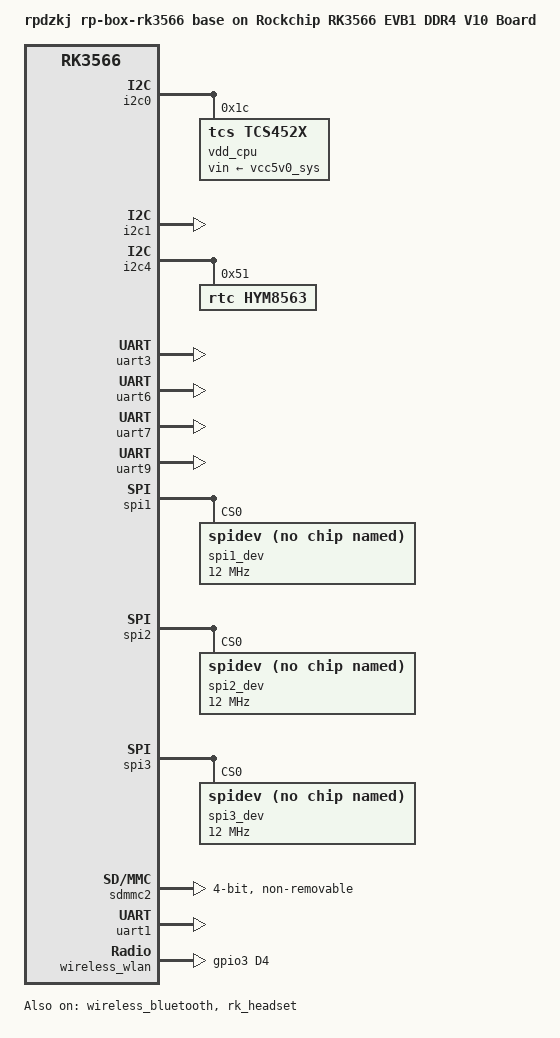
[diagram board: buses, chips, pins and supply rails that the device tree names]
// SPDX-License-Identifier: (GPL-2.0+ OR MIT)
/*
 * Copyright (c) 2020 Rockchip Electronics Co., Ltd.
 *
 */

/dts-v1/;

//rk3566-evb1-ddr4-v10
//#include "rk3566-evb1-ddr4-v10.dtsi"

#include "rk3566-evb-rpdzkj-rk809.dtsi"


#include "rk3568-linux.dtsi"
/*************************camera***********************/
//#include "rp-mipi-camera-gc2093-rk3566.dtsi"
#include "rp-mipi-camera-gc2093-imx334-imx415-rk3566.dtsi"
/***************************************************/


/*************************adc key***********************/
#include "rp-adc-key.dtsi"
/***************************************************/

/*************************gmac***********************/
#include "rp-gmac1-m0-pro-rk3566.dtsi"
/***************************************************/

/***************** SINGLE LCD (LCD + HDMI) ****************/
#include "rp-box-rk3566-lcd-gpio.dtsi"
/* HDMI only */
//#include "rp-lcd-hdmi.dtsi"

/* MIPI DSI0 */
//#include "rp-lcd-mipi0-5-720-1280-v2-boxTP.dtsi"
#include "rp-lcd-mipi0-7-720-1280.dtsi"
//#include "rp-lcd-mipi0-8-800-1280-v3.dtsi"
//#include "rp-lcd-mipi0-8-1200-1920.dtsi"
//#include "rp-lcd-mipi0-10-800-1280-v3.dtsi"
//#include "rp-lcd-mipi0-10-1200-1920.dtsi"

/** LVDS */
//#include "rp-lcd-lvds-7-1024-600-v2.dtsi"
//#include "rp-lcd-lvds-10-1280-800.dtsi"

/* EDP */
//#include "rp-lcd-edp-13-1920-1080.dtsi"
//#include "rp-lcd-edp-13.3-15.6-1920-1080.dtsi"










/ {
	model = "rpdzkj rp-box-rk3566 base on Rockchip RK3566 EVB1 DDR4 V10 Board";
	compatible = "rpdzkj,rp-box-rk3566", "rockchip,rk3566";

        
        rp_power{
                status = "okay";
                compatible = "rp_power";
                rp_not_deep_sleep = <1>;

                //#define GPIO_FUNCTION_OUTPUT 0
                //#define GPIO_FUNCTION_INPUT 1
                //#define GPIO_FUNCTION_IRQ 2
                //#define GPIO_FUNCTION_FLASH 3
                //#define GPIO_FUNCTION_OUTPUT_CTRL 4
                
                /**
                 * gpioxxx {                    // the node name will display on /proc/rp_power, you can define any character string
                 *      gpio_num = <>;          // gpio you want ot control
                 *      gpio_function = <>;     // function of current gpio, refer to above define.
                 * };
                 */
                   
                
                /******* sytem power en pin, donnot change it only if you know what you are doing */
                pwr_5v_3v3 {	    //vdd 3.3v enable
                        gpio_num = <&gpio2 RK_PB3 GPIO_ACTIVE_HIGH>;
                        gpio_function = <0>;
                };
                
                pwr_4g {	    //vdd_3G 3.3v enable
                        gpio_num = <&gpio0 RK_PC7 GPIO_ACTIVE_HIGH>;
                        gpio_function = <4>;
                };
                
                led {       //system led
                        gpio_num = <&gpio3 RK_PC2 GPIO_ACTIVE_HIGH>;
                        gpio_function = <4>;
                };
                
                
                usb_host_pwr {       //usb 2.0 3.0 power 
                        gpio_num = <&gpio0 RK_PA6 GPIO_ACTIVE_HIGH>;
                        gpio_function = <4>;
                };
                
                usb_pwr {       //usb and otg power 
                        gpio_num = <&gpio0 RK_PA5 GPIO_ACTIVE_HIGH>;
                        gpio_function = <4>;
                };
                
                hub_rst {       //usb hub reset
                        gpio_num = <&gpio0 RK_PB0 GPIO_ACTIVE_HIGH>;
                        gpio_function = <4>;
                };

                spk_en {        //SPK ENABLE
                        gpio_num = <&gpio4 RK_PC4 GPIO_ACTIVE_HIGH>;
                        gpio_function = <4>;
                };

                spk_mute {      //SPK MUTE, hish active, nomal low
                        gpio_num = <&gpio0 RK_PA0 GPIO_ACTIVE_LOW>;
                        gpio_function = <4>;
                };
                
                otg_mode {     //OTG SWITCH, high is mean otg_id to 0, foece host mode
                        gpio_num = <&gpio0 RK_PC2 GPIO_ACTIVE_LOW>;
                        gpio_function = <0>;
                };
                
                fan {        //fan en
                        gpio_num = <&gpio0 RK_PC5 GPIO_ACTIVE_HIGH>;
                        gpio_function = <4>;
                };
				};


        rp_gpio{
                status = "okay";
                compatible = "rp_gpio";
                


                /***** gpio, add you want to control as blow */

                gpio4a0 {
                        gpio_num = <&gpio4 RK_PA0 GPIO_ACTIVE_HIGH>;
                        gpio_function = <0>;
                };

                gpio4a1 {
                        gpio_num = <&gpio4 RK_PA1 GPIO_ACTIVE_HIGH>;
                        gpio_function = <0>;
                };
                gpio4a2 {
                        gpio_num = <&gpio4 RK_PA2 GPIO_ACTIVE_HIGH>;
                        gpio_function = <0>;
                };
                gpio4a3 {
                        gpio_num = <&gpio4 RK_PA3 GPIO_ACTIVE_HIGH>;
                        gpio_function = <0>;
                };               
                gpio1b2 {
                        gpio_num = <&gpio1 RK_PB2 GPIO_ACTIVE_HIGH>;
                        gpio_function = <0>;
                };
                gpio3c1 {
                        gpio_num = <&gpio3 RK_PC1 GPIO_ACTIVE_HIGH>;
                        gpio_function = <0>;
                };
                gpio1b0 {
                        gpio_num = <&gpio1 RK_PB0 GPIO_ACTIVE_HIGH>;
                        gpio_function = <0>;
                };
                gpio0c4 {
                        gpio_num = <&gpio0 RK_PC4 GPIO_ACTIVE_HIGH>;
                        gpio_function = <0>;
                };                
                gpio1a4 {
                        gpio_num = <&gpio1 RK_PA4 GPIO_ACTIVE_HIGH>;
                        gpio_function = <0>;
                };                
                gpio2b4 {
                        gpio_num = <&gpio2 RK_PB4 GPIO_ACTIVE_HIGH>;
                        gpio_function = <0>;
                };              
	};
};


&pmu_io_domains {
        status = "okay";
        pmuio2-supply = <&vcc3v3_pmu>;
        vccio1-supply = <&vccio_acodec>;
        vccio3-supply = <&vccio_sd>;
        vccio4-supply = <&vcc_3v3>;
        vccio5-supply = <&vcc_3v3>;
        vccio6-supply = <&vcc_1v8>;
        vccio7-supply = <&vcc_3v3>;
};


&i2c0 {
        status = "okay";
        vdd_cpu: tcs4525@1c {
                compatible = "tcs,tcs452x";
                reg = <0x1c>;
                vin-supply = <&vcc5v0_sys>;
                regulator-compatible = "fan53555-reg";
                regulator-name = "vdd_cpu";
                regulator-min-microvolt = <712500>;
                regulator-max-microvolt = <1390000>;
                regulator-init-microvolt = <1000000>;
                regulator-ramp-delay = <2300>;
                fcs,suspend-voltage-selector = <1>;
                regulator-boot-on;
                regulator-always-on;
                regulator-state-mem {
                        regulator-off-in-suspend;
                };
        };
};


&i2c1 {
	status = "okay";
};

&i2c4 {
	status = "okay";
	pinctrl-names = "default";
	pinctrl-0 = <&i2c4m1_xfer>;

        rtc@51 {
                status = "okay";
                compatible = "rtc,hym8563";
                reg = <0x51>;
        };
};

&i2c5 {
    status = "disabled";
};

&uart3 {
	status = "okay";
	pinctrl-names = "default";
	pinctrl-0 = <&uart3m0_xfer>;
};

&uart6 {
        status = "okay";
        pinctrl-names = "default";
        pinctrl-0 = <&uart6m0_xfer>;
};

&uart7 {
        status = "okay";
        pinctrl-names = "default";
        pinctrl-0 = <&uart7m0_xfer>;
};

&uart9 {
        status = "okay";
        pinctrl-names = "default";
        pinctrl-0 = <&uart9m0_xfer>;
};

&spi1 {
        status = "okay";
        /* rewrite pinctrl, for cs1 used to be gpio */
		pinctrl-0 = <&spi1m0_cs0 &spi1m0_pins>;
		pinctrl-1 = <&spi1m0_cs0 &spi1m0_pins_hs>;

    spi1_dev@0 {
        compatible = "rockchip,spidev";
        reg = <0>;
        spi-max-frequency = <12000000>;
        spi-lsb-first;
    };

};

&spi2 {
        status = "okay";
        /* rewrite pinctrl, for cs1 used to be gpio */
		pinctrl-0 = <&spi2m0_cs0 &spi2m0_pins>;
		pinctrl-1 = <&spi2m0_cs0 &spi2m0_pins_hs>;

    spi2_dev@0 {
        compatible = "rockchip,spidev";
        reg = <0>;
        spi-max-frequency = <12000000>;
        spi-lsb-first;
    };

};

&spi3 {
	status = "okay";

    spi3_dev@0 {
        compatible = "rockchip,spidev";
        reg = <0>;
        spi-max-frequency = <12000000>;
        spi-lsb-first;
    };

};

/****** rp3566 camera configuration adjustment ******/
&spi3 {
    /* rewrite pinctrl for cs1 used to be camera clk */
		pinctrl-0 = <&spi3m0_cs0 &spi3m0_pins>;
		pinctrl-1 = <&spi3m0_cs0 &spi3m0_pins_hs>;
};
/***************************************************/

&dmc {
	status = "disabled";
};

&dfi {
	status = "disabled";
};

&gmac1 {
    tx_delay = <0x42>;
    rx_delay = <0x2d>;
};


&sdmmc2 {
	max-frequency = <150000000>;
	supports-sdio;
	bus-width = <4>;
	disable-wp;
	cap-sd-highspeed;
	cap-sdio-irq;
	keep-power-in-suspend;
	mmc-pwrseq = <&sdio_pwrseq>;
	non-removable;
	pinctrl-names = "default";
	pinctrl-0 = <&sdmmc2m0_bus4 &sdmmc2m0_cmd &sdmmc2m0_clk>;
	sd-uhs-sdr104;
	status = "okay";
};

&uart1 {
	status = "okay";
	pinctrl-names = "default";
	pinctrl-0 = <&uart1m1_xfer &uart1m1_ctsn>;
};


&wireless_bluetooth {
	uart_rts_gpios = <&gpio4 RK_PB6 GPIO_ACTIVE_LOW>;
	pinctrl-names = "default", "rts_gpio";
	pinctrl-0 = <&uart1m1_rtsn>;
	pinctrl-1 = <&uart1_gpios>;
	BT,reset_gpio    = <&gpio4 RK_PA5 GPIO_ACTIVE_HIGH>;
	BT,wake_gpio     = <&gpio4 RK_PA6 GPIO_ACTIVE_HIGH>;
	BT,wake_host_irq = <&gpio4 RK_PB1 GPIO_ACTIVE_HIGH>;
	status = "okay";
};

&wireless_wlan {
	pinctrl-names = "default";
	pinctrl-0 = <&wifi_host_wake_irq>;
	WIFI,host_wake_irq = <&gpio3 RK_PD4 GPIO_ACTIVE_HIGH>;
};


        
&rk_headset {
		status = "okay";
	pinctrl-names = "default";
	pinctrl-0 = <&hp_det>;
	headset_gpio = <&gpio3 RK_PA1 GPIO_ACTIVE_HIGH>;
	};


&pinctrl {
    
	headphone {
		hp_det: hp-det {
			rockchip,pins = <3 RK_PA1 RK_FUNC_GPIO &pcfg_pull_down>;
		};
	};

    
	wireless-wlan {
		wifi_host_wake_irq: wifi-host-wake-irq {
			rockchip,pins = <3 RK_PD4 RK_FUNC_GPIO &pcfg_pull_down>;
		};
	};

	wireless-bluetooth {
		uart1_gpios: uart1-gpios {
			rockchip,pins = <4 RK_PB6 RK_FUNC_GPIO &pcfg_pull_none>;
		};
	};
};
